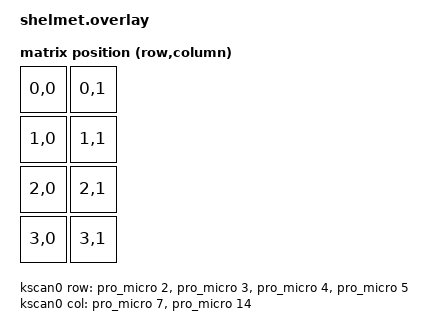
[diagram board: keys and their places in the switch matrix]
#include <dt-bindings/zmk/matrix_transform.h>

/ {
    chosen {
        zmk,kscan = &kscan0;
        zmk,matrix_transform = &default_transform;
    };

    default_transform: keymap_transform_0 {
        compatible = "zmk,matrix-transform";
        columns = <2>;
        rows = <4>;

// | MX1  | MX2  |
// | MX3  | MX4  |       
// | MX5  | MX6  |
// | MX7  | MX8  |

        map = <
RC(0,0) RC(0,1)
RC(1,0) RC(1,1)  
RC(2,0) RC(2,1) 
RC(3,0) RC(3,1)
        >;
    };

    kscan0: kscan_0 {
        compatible = "zmk,kscan-gpio-matrix";
        label = "KSCAN";
        diode-direction = "col2row";

        col-gpios
            = <&pro_micro 7  GPIO_ACTIVE_HIGH>
            , <&pro_micro 14 GPIO_ACTIVE_HIGH>
            ;

        row-gpios
            = <&pro_micro 2 (GPIO_ACTIVE_HIGH | GPIO_PULL_DOWN)>
            , <&pro_micro 3 (GPIO_ACTIVE_HIGH | GPIO_PULL_DOWN)>
            , <&pro_micro 4 (GPIO_ACTIVE_HIGH | GPIO_PULL_DOWN)>
            , <&pro_micro 5 (GPIO_ACTIVE_HIGH | GPIO_PULL_DOWN)>
            ;
    };
};
